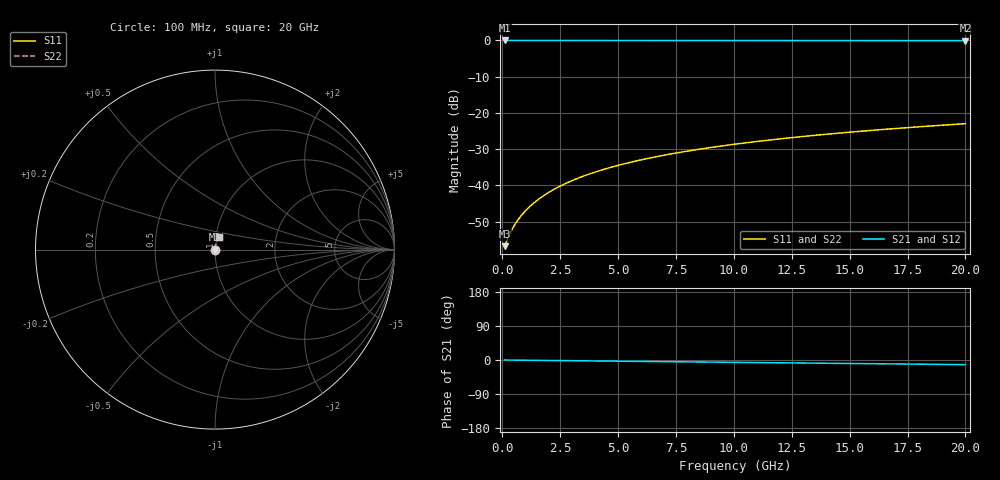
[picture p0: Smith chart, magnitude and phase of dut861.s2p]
! Touchstone file exported from HFSS 2026.1.0
!  File:  C:/ffzhzh/LocalFiles/Ansys_Project_Files/temp_train_BSMRDL_861_1783170739_18472.aedt
!  Generated:  09:13:30 PM Jul  4, 2026
!  Design:  BSMRDL
!  Project:  temp_train_BSMRDL_861_1783170739_18472
! Variables:
!  h_bsmrdl = 2.55um
!  h_ox = 20um
!  h_rdl = 5um
!  h_sub = 80um
!  h_tmrdl = 5um
!  h_tsv = 80um
!  h_via = 3um
!  l_bsmrdl = 182.4um
!  l_sub = 582.4um
!  l_tmrdl = 200um
!  m_sub = 200um
!  pitch = 34.59um
!  r_tsv = 6um
!  s_tmrdl = 10um
!  w_bsmrdl = 25.19um
!  w_sub = 500um
!  w_tmrdl = 12um
!  x_tsv_center1 = 206um
!  x_tsv_center2 = 413.59um
!  x_tsv_center3 = 625.59um
!  x_tsv_center4 = 833.18um
!  x_tsv_center5 = 1045.18um
!  x_tsv_center6 = 1252.77um
# GHz S MA R 50.000000
! Terminal data exported
! Port[1] = BSM_RDL1_1_T1
! Port[2] = BSM_RDL1_1_T2
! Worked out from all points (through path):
!   200 points, 100 MHz to 20 GHz, reference 50 ohm
!   highest |S21| = -0.01 dB at 100 MHz (marker M1); lowest = -0.1 dB at 20 GHz (marker M2)
!   group delay of S21, straight-line fit = 1.7 ps
!   lowest |S11| = -56.8 dB at 100 MHz (marker M3), VSWR 1.00, Z = 50.1 + j0.0504 ohm
!   |S11| at or under -10 dB: start of sweep to end of sweep
!   |S22| runs from -56.8 to -23.0 dB; largest |S21 - S12| = 4.8e-15
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0.1  0.001454 20.2  0.9986 -0.1  0.9986 -0.1  0.001454 20.2
! Gamma 0 0 0 0
! Port Impedance 50 0 50 0
0.3  0.002062 42.7  0.9985 -0.2  0.9985 -0.2  0.002063 42.7
0.4  0.002402 48.5  0.9984 -0.3  0.9984 -0.3  0.002402 48.5
0.6  0.003084 56.3  0.9983 -0.4  0.9983 -0.4  0.003084 56.3
0.7  0.003426 59.0  0.9982 -0.5  0.9982 -0.5  0.003426 59.0
0.9  0.004115 63.3  0.9981 -0.6  0.9981 -0.6  0.004115 63.2
1.1  0.00481 66.4  0.9981 -0.7  0.9981 -0.7  0.00481 66.4
1.3  0.00551 68.7  0.998 -0.8  0.998 -0.8  0.00551 68.7
1.8  0.00728 72.8  0.9979 -1.1  0.9979 -1.1  0.00728 72.8
2.3  0.009074 75.2  0.9979 -1.4  0.9979 -1.4  0.009074 75.2
2.9  0.01125 77.1  0.9978 -1.8  0.9978 -1.8  0.01125 77.1
3.5  0.01343 78.2  0.9977 -2.2  0.9977 -2.2  0.01343 78.2
4.2  0.01599 79.0  0.9975 -2.6  0.9975 -2.6  0.01599 79.0
5  0.01891 79.4  0.9974 -3.1  0.9974 -3.1  0.01891 79.4
5.9  0.02219 79.6  0.9971 -3.7  0.9971 -3.7  0.02219 79.6
6.8  0.02546 79.5  0.9969 -4.2  0.9969 -4.2  0.02546 79.5
8.3  0.03086 79.2  0.9965 -5.1  0.9965 -5.1  0.03086 79.2
10.1  0.03726 78.5  0.9959 -6.2  0.9959 -6.2  0.03726 78.5
11.7  0.04288 77.8  0.9954 -7.2  0.9954 -7.2  0.04288 77.8
13.4  0.04878 77.0  0.9947 -8.3  0.9947 -8.3  0.04877 77.0
16.7  0.06003 75.3  0.9935 -10.3  0.9935 -10.3  0.06003 75.3
20  0.07107 73.6  0.9922 -12.2  0.9922 -12.2  0.07107 73.5
